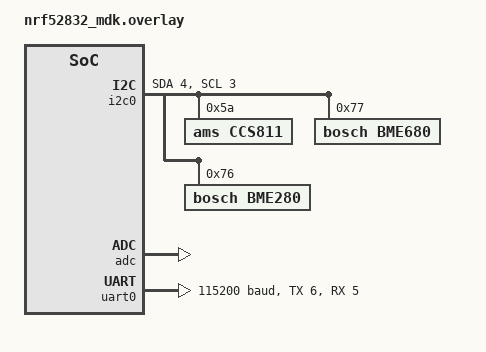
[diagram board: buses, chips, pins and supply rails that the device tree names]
&i2c0 {
    status = "okay";
	sda-pin = <4>;
	scl-pin = <3>;
        ccs811@5a {
                compatible = "ams,ccs811";
                reg = <0x5a>;
                label = "CCS811";		
        };
	bme680@77 {
                compatible = "bosch,bme680";
                label = "BME680";
                reg = <0x77>;
        };
        bme280@76 {
                compatible = "bosch,bme280";
                label = "BME280";
                reg = <0x76>;
        };
};

&adc {
	status ="okay";
        label = "ADC_0";
};

&uart0 {
	status = "okay";
	compatible = "nordic,nrf-uart";
	current-speed = <115200>;
	tx-pin = <6>;
	rx-pin = <5>;
};
